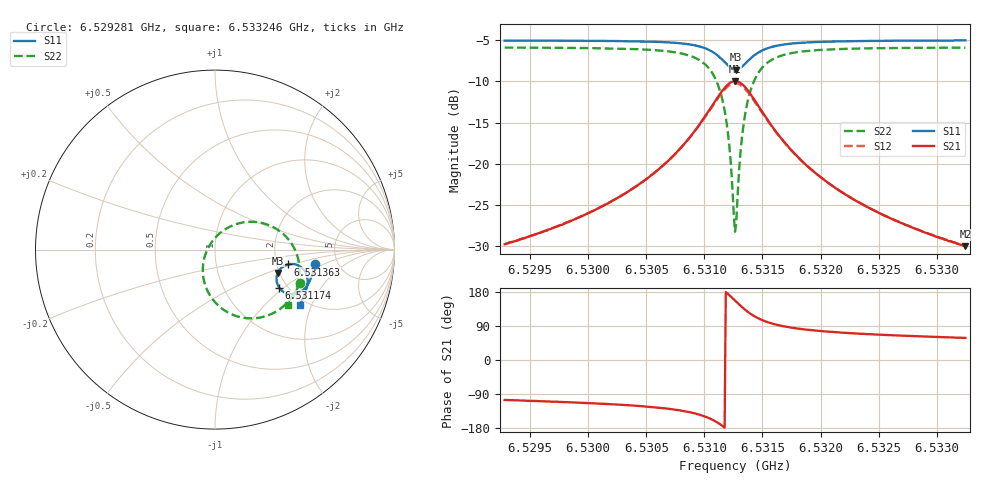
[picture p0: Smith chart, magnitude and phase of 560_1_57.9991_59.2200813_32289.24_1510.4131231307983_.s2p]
#  HZ  S  RI  R  50.00
! Rohde & Schwarz Vector Network Analyzer
! Rohde-Schwarz,ZNB20-2Port,1311601062101988,3.16
! Created: UTC 3/21/2024, 1:15:22 AM
! freq[Hz]  re:S11  im:S11  re:S21  im:S21  re:S12  im:S12  re:S22  im:S22
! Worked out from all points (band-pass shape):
!   401 points, 6.529281 GHz to 6.533246 GHz, reference 50 ohm
!   highest |S21| = -9.95 dB at 6.531263 GHz (marker M1); lowest = -30.1 dB at 6.533246 GHz (marker M2)
!   |S21| within 3 dB of the highest: 6.531067 GHz to 6.531463 GHz (396.4 kHz wide, 0.00607 % of centre)
!   lowest |S11| = -8.6 dB at 6.531273 GHz (marker M3), VSWR 2.19, Z = 97.9 - j29.6 ohm
!   |S11| at or under -10 dB: nowhere
!   |S22| runs from -28.3 to -5.9 dB; largest |S21 - S12| = 0.013
!   S11 on the Smith chart (normalised r, x): 6.529281 GHz: 3.36, -0.77; 6.531174 GHz: 1.81, -0.92; 6.531363 GHz: 2.30, -0.46; 6.533246 GHz: 1.82, -1.64
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6.5292808e9  0.5552 -0.0787  -0.00859 -0.031  -0.00921 -0.0308  0.4732 -0.1881
6.529945e9  0.5433 -0.1342  -0.0188 -0.044  -0.0197 -0.0436  0.4402 -0.2495
6.5303118e9  0.5309 -0.1685  -0.0314 -0.0572  -0.0329 -0.0565  0.4063 -0.2923
6.5306092e9  0.513 -0.201  -0.0543 -0.0749  -0.0563 -0.0735  0.355 -0.3364
6.5308372e9  0.4846 -0.2302  -0.0958 -0.0941  -0.0985 -0.0907  0.2714 -0.3742
6.5310057e9  0.4391 -0.2482  -0.1663 -0.0991  -0.1683 -0.0921  0.1423 -0.3766
6.5311048e9  0.393 -0.241  -0.2373 -0.0701  -0.2361 -0.0602  0.0234 -0.3159
6.5311742e9  0.3573 -0.2115  -0.2889 -0.00859  -0.2824 0.00149  -0.0526 -0.2038
6.531204e9  0.3469 -0.1902  -0.3022 0.0317  -0.2931 0.0403  -0.0674 -0.1351
6.5312238e9  0.3432 -0.1736  -0.3051 0.0619  -0.2947 0.069  -0.0666 -0.085
6.5312535e9  0.3442 -0.1472  -0.2981 0.1089  -0.2865 0.113  -0.0469 -0.00919
6.5312635e9  0.3465 -0.1386  -0.2927 0.1243  -0.281 0.1272  -0.0354 0.0147
6.5312734e9  0.3497 -0.13  -0.2858 0.139  -0.2741 0.1409  -0.0216 0.0374
6.5313229e9  0.3768 -0.0963  -0.2334 0.197  -0.2239 0.1947  0.0733 0.123
6.5313626e9  0.4053 -0.0826  -0.1825 0.2199  -0.1753 0.2161  0.1614 0.1523
6.531432e9  0.4503 -0.0831  -0.1038 0.2203  -0.1005 0.2167  0.2922 0.1393
6.5315311e9  0.4891 -0.1067  -0.0373 0.1864  -0.0358 0.1846  0.3996 0.0678
6.5316798e9  0.5111 -0.144  0.00204 0.137  0.00333 0.1363  0.4573 -0.0313
6.5319277e9  0.5158 -0.1881  0.0181 0.0891  0.0192 0.0889  0.4707 -0.1311
6.5322152e9  0.5094 -0.2231  0.0203 0.0614  0.0215 0.0611  0.4602 -0.1955
6.5325919e9  0.4968 -0.2584  0.0192 0.0425  0.02 0.0423  0.4406 -0.2476
6.5332461e9  0.4709 -0.3077  0.0165 0.0267  0.017 0.0265  0.4059 -0.3066
